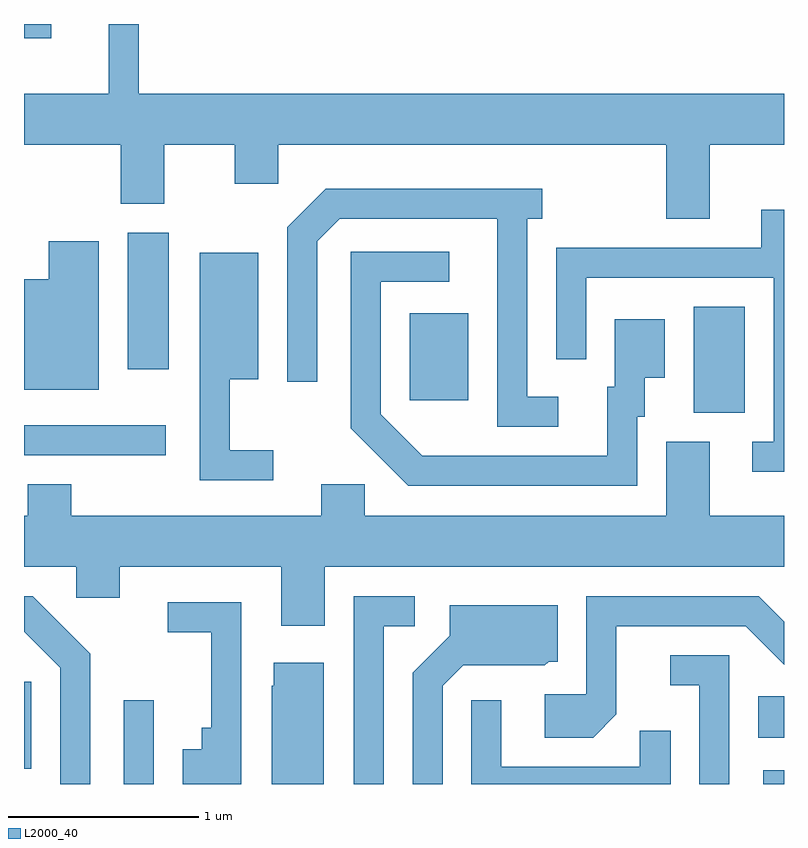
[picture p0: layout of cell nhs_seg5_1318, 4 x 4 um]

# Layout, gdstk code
import gdstk
lib = gdstk.Library(unit=1e-6, precision=1e-09)
def R(c, l, rs):  # rectangles x0, y0, x1, y1
    for r in rs: c.add(gdstk.rectangle(r[:2], r[2:], *l))
def P(c, l, *ps):  # polygons
    for p in ps: c.add(gdstk.Polygon(p, *l))
L2000_40 = (2000, 40)

nhs_seg5_1318 = lib.new_cell('nhs_seg5_1318')
R(nhs_seg5_1318, L2000_40, [(224.136,1480.072,224.294,1480.513), (227.501,1480.072,227.611,1480.144), (223.611,1480.151,223.649,1480.609), (227.476,1480.316,227.611,1480.534), (223.611,1481.801,224.358,1481.959), (227.136,1482.026,227.404,1482.584), (225.641,1482.091,225.949,1482.549), (224.156,1482.256,224.374,1482.974), (223.611,1483.996,223.754,1484.072)])
P(nhs_seg5_1318, L2000_40, [(227.219,1483.436),(227.611,1483.436),(227.611,1483.704),(224.214,1483.704),(224.214,1484.072),(224.056,1484.072),(224.056,1483.704),(223.611,1483.704),(223.611,1483.436),(224.121,1483.436),(224.121,1483.126),(224.349,1483.126),(224.349,1483.436),(224.721,1483.436),(224.721,1483.231),(224.949,1483.231),(224.949,1483.436),(226.991,1483.436),(226.991,1483.046),(227.219,1483.046)],
  [(226.423,1482.109),(226.259,1482.109),(226.259,1483.046),(226.338,1483.046),(226.338,1483.204),(225.199,1483.204),(224.996,1483.002),(224.996,1482.188),(225.154,1482.188),(225.154,1482.929),(225.272,1483.046),(226.101,1483.046),(226.101,1481.951),(226.423,1481.951)],
  [(227.611,1483.094),(227.491,1483.094),(227.491,1482.894),(226.411,1482.894),(226.411,1482.308),(226.569,1482.308),(226.569,1482.736),(227.556,1482.736),(227.556,1481.874),(227.443,1481.874),(227.443,1481.716),(227.611,1481.716)],
  [(224.004,1482.929),(223.741,1482.929),(223.741,1482.729),(223.611,1482.729),(223.611,1482.146),(224.004,1482.146)],
  [(226.839,1482.006),(226.879,1482.006),(226.879,1482.211),(226.984,1482.211),(226.984,1482.519),(226.721,1482.519),(226.721,1482.164),(226.681,1482.164),(226.681,1481.799),(225.707,1481.799),(225.489,1482.017),(225.489,1482.716),(225.848,1482.716),(225.848,1482.874),(225.331,1482.874),(225.331,1481.944),(225.634,1481.641),(226.839,1481.641)],
  [(224.923,1481.829),(224.694,1481.829),(224.694,1482.201),(224.844,1482.201),(224.844,1482.869),(224.536,1482.869),(224.536,1481.671),(224.923,1481.671)],
  [(225.194,1481.216),(227.611,1481.216),(227.611,1481.484),(227.219,1481.484),(227.219,1481.874),(226.991,1481.874),(226.991,1481.484),(225.404,1481.484),(225.404,1481.649),(225.176,1481.649),(225.176,1481.484),(223.859,1481.484),(223.859,1481.649),(223.631,1481.649),(223.631,1481.484),(223.611,1481.484),(223.611,1481.216),(223.886,1481.216),(223.886,1481.051),(224.114,1481.051),(224.114,1481.216),(224.966,1481.216),(224.966,1480.906),(225.194,1480.906)],
  [(225.504,1480.901),(225.668,1480.901),(225.668,1481.059),(225.346,1481.059),(225.346,1480.072),(225.504,1480.072)],
  [(223.959,1480.757),(223.657,1481.059),(223.611,1481.059),(223.611,1480.874),(223.801,1480.684),(223.801,1480.072),(223.959,1480.072)],
  [(226.729,1480.439),(226.729,1480.901),(227.409,1480.901),(227.611,1480.699),(227.611,1480.925),(227.477,1481.059),(226.571,1481.059),(226.571,1480.544),(226.351,1480.544),(226.351,1480.316),(226.607,1480.316)],
  [(224.754,1481.029),(224.368,1481.029),(224.368,1480.871),(224.596,1480.871),(224.596,1480.369),(224.546,1480.369),(224.546,1480.254),(224.446,1480.254),(224.446,1480.072),(224.754,1480.072)],
  [(225.814,1480.589),(225.922,1480.696),(226.352,1480.696),(226.372,1480.716),(226.419,1480.716),(226.419,1481.014),(225.851,1481.014),(225.851,1480.852),(225.656,1480.657),(225.656,1480.072),(225.814,1480.072)],
  [(227.324,1480.749),(227.013,1480.749),(227.013,1480.591),(227.166,1480.591),(227.166,1480.072),(227.324,1480.072)],
  [(225.189,1480.709),(224.926,1480.709),(224.926,1480.59),(224.916,1480.59),(224.916,1480.072),(225.189,1480.072)],
  [(227.014,1480.353),(226.851,1480.353),(226.851,1480.164),(226.124,1480.164),(226.124,1480.513),(225.966,1480.513),(225.966,1480.072),(227.014,1480.072)])

lib.write_gds('nhs_seg5_1318.gds')
